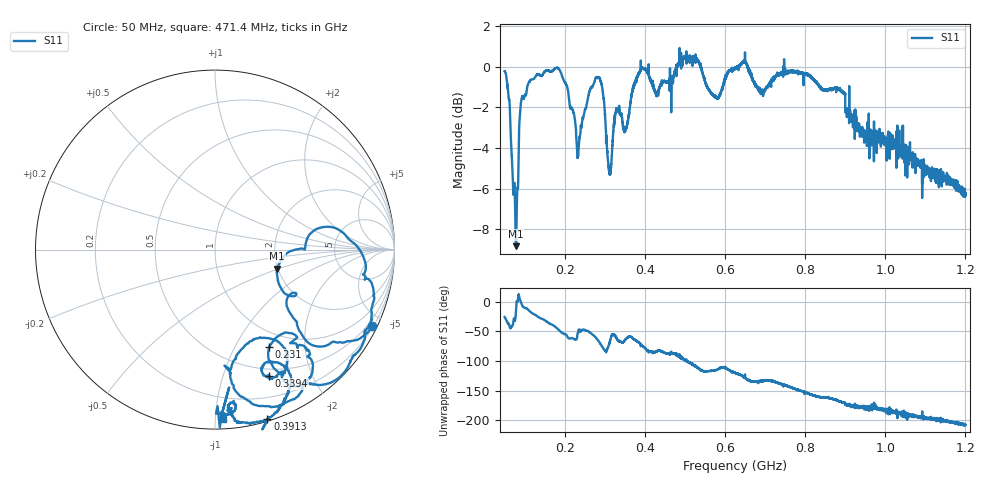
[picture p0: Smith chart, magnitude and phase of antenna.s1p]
! Calibrated high-resolution NanoVNA antenna measurement
# Hz S RI R 50
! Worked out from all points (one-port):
!   40001 points, 50 MHz to 1.2 GHz, reference 50 ohm
!   lowest |S11| = -8.8 dB at 78.2 MHz (marker M1), VSWR 2.13, Z = 98.9 - j24.2 ohm
!   |S11| at or under -10 dB: nowhere
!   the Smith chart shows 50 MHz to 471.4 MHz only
!   S11 on the Smith chart (normalised r, x): 50 MHz: 0.25, -4.32; 231 MHz: 0.79, -1.39; 339.4 MHz: 0.42, -1.43; 391.3 MHz: 0.01, -1.36; 471.4 MHz: 0.06, -1.04
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5e7  0.8762 -0.4265
6.3225e7  0.5687 -0.5402
7.820375e7  0.3455 -0.1064
8.447125e7  0.5453 0.0971
9.16875e7  0.8262 -0.0398
1.113238e8  0.8846 -0.2432
1.9375e8  0.5719 -0.7538
2.309812e8  0.3016 -0.5411
2.60565e8  0.5451 -0.6669
2.876762e8  0.325 -0.8769
3.021375e8  0.0852 -0.7094
3.138675e8  0.2385 -0.4916
3.234412e8  0.4018 -0.5993
3.375e8  0.295 -0.7128
3.393975e8  0.2989 -0.7035
3.5682e8  0.3604 -0.6354
3.912912e8  0.2922 -0.9459
4.149812e8  0.0926 -0.9185
4.7136e8  0.0424 -0.9441
4.8125e8  -0.00384 -1.002
5.396125e8  -0.4273 -0.9051
5.935188e8  -0.3146 -0.8315
6.25e8  -0.4949 -0.8568
6.792225e8  -0.6315 -0.6314
7.6875e8  -0.8027 -0.5542
9.125e8  -0.7604 -0.0755
1.05625e9  -0.6054 0.1216
1.2e9  -0.4336 0.2148
